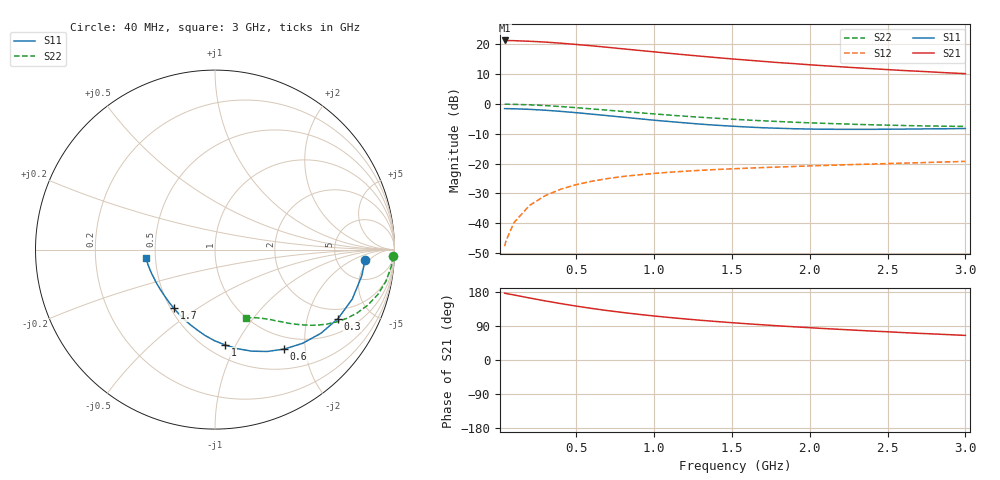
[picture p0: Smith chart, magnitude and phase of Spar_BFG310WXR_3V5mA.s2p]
! Filename: 35BFG310WXR.s2p
! Title: BFG310WXR,RN20042071,Lot:TT3082,B:X1104,Sl.:3
! Bias: VCE=2.999V; IC=4.999mA;
! Company: NXP Semiconductors NL
! User: Q&R DSC-N
! Measure time: 29 Mar 2004 / 13:22:06
#  MHz  S  MA  R 50
! Freq  S11  S21  S12  S22  :
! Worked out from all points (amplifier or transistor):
!   32 points, 40 MHz to 3 GHz, reference 50 ohm
!   highest |S21| = 21.3 dB at 40 MHz (marker M1)
!   |S21| within 3 dB of that: start of sweep to 837 MHz
!   unconditionally stable (mu >= 1): 2.846 GHz to end of sweep
!   at 400 MHz: K = 0.23, MSG = 24.5 dB, |S12| = -28.6 dB
!   at 1.5 GHz: K = 0.71, MSG = 18.4 dB, |S12| = -21.8 dB
!   at 3 GHz: K = 1.01, MAG = 14.0 dB, |S12| = -19.3 dB
!   S11 on the Smith chart (normalised r, x): 40 MHz: 10, -4; 300 MHz: 1.55, -3.12; 600 MHz: 0.80, -1.62; 1 GHz: 0.61, -0.91; 1.7 GHz: 0.52, -0.41; 3 GHz: 0.44, -0.05
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40  0.8365 -4.0  11.64 176.3  0.004112 87.8  0.9915 -2.1
100  0.831 -10.0  11.54 171.6  0.0102 83.9  0.9867 -5.4
200  0.8131 -19.8  11.29 163.7  0.01985 78.3  0.9684 -10.6
300  0.7859 -29.3  10.94 156.1  0.02889 73.1  0.9404 -15.5
400  0.7522 -38.3  10.48 148.9  0.0371 68.3  0.9055 -20.0
500  0.7146 -47.0  9.974 142.3  0.04432 64.0  0.8671 -24.0
600  0.6754 -55.1  9.465 136.1  0.05053 60.3  0.8267 -27.7
700  0.6376 -62.9  8.943 130.4  0.05596 57.0  0.7871 -30.8
800  0.6012 -70.2  8.425 125.3  0.06069 54.2  0.7495 -33.6
900  0.5663 -77.2  7.942 120.5  0.06469 51.9  0.7139 -36.1
1000  0.5344 -83.9  7.502 116.2  0.06834 49.8  0.6816 -38.2
1100  0.5073 -90.4  7.079 112.1  0.07159 48.0  0.6509 -40.2
1200  0.4819 -96.5  6.69 108.4  0.07444 46.5  0.6229 -42.0
1300  0.4587 -102.5  6.336 104.8  0.07709 45.2  0.5986 -43.8
1500  0.4245 -114.0  5.708 98.5  0.08161 43.4  0.5561 -46.6
1600  0.4107 -119.5  5.446 95.5  0.08375 42.5  0.5377 -48.1
1700  0.3992 -124.9  5.188 92.8  0.08578 42.0  0.5222 -49.5
1900  0.3844 -134.7  4.755 87.6  0.08943 40.9  0.4943 -51.9
2100  0.3769 -143.9  4.372 82.8  0.09306 40.3  0.4729 -54.5
2400  0.3755 -155.6  3.911 76.4  0.09818 39.7  0.4476 -58.2
2600  0.3788 -162.4  3.646 72.3  0.1017 39.6  0.4356 -60.6
3000  0.3878 -173.4  3.235 64.9  0.1088 39.1  0.42 -65.8
